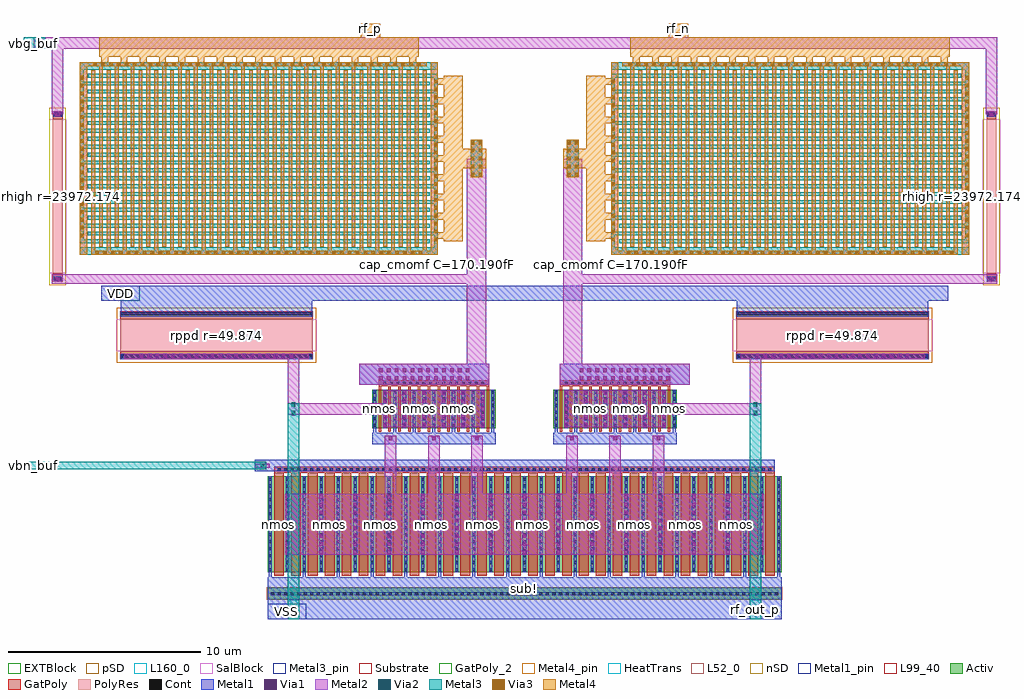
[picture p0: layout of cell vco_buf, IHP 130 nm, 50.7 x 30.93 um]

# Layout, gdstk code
import gdstk
lib = gdstk.Library(unit=1e-6, precision=1e-09)
def R(c, l, rs):  # rectangles x0, y0, x1, y1
    for r in rs: c.add(gdstk.rectangle(r[:2], r[2:], *l))
def A(c, l, x, y, w, h, nx, ny, dx, dy):  # array of equal rectangles
    R(c, l, [(x+i*dx, y+j*dy, x+i*dx+w, y+j*dy+h) for i in range(nx) for j in range(ny)])
def P(c, l, *ps):  # polygons
    for p in ps: c.add(gdstk.Polygon(p, *l))
Activ = (1, 0)
GatPoly = (5, 0)
GatPoly_2 = (5, 2)
Cont = (6, 0)
nSD = (7, 0)
Metal1 = (8, 0)
Metal1_pin = (8, 2)
Metal2 = (10, 0)
pSD = (14, 0)
Via1 = (19, 0)
SalBlock = (28, 0)
Via2 = (29, 0)
Metal3 = (30, 0)
Metal3_pin = (30, 2)
Substrate = (40, 0)
Via3 = (49, 0)
Metal4 = (50, 0)
Metal4_pin = (50, 2)
HeatTrans = (51, 0)
L52_0 = (52, 0)
L99_40 = (99, 40)
EXTBlock = (111, 0)
PolyRes = (128, 0)
L160_0 = (160, 0)

vco_buf = lib.new_cell('vco_buf')
A(vco_buf, Activ, -13.35, -0.3, 0.3, 0.3, 31, 1, 0.88, 0)
A(vco_buf, Activ, -7.92, 4.2, 0.3, 0.3, 13, 1, 0.51, 0)
A(vco_buf, Activ, 1.5, 4.2, 0.3, 0.3, 13, 1, 0.51, 0)
R(vco_buf, Activ, [(-13.35,-6.4,13.35,-5.8), (-13.35,-5,13.35,0), (-7.92,2.5,-1.5,4.5), (1.5,2.5,7.92,4.5)])
A(vco_buf, GatPoly, -13.01, -5.18, 0.5, 5.36, 30, 1, 0.88, 0)
A(vco_buf, GatPoly, -7.58, 2.32, 0.13, 2.36, 12, 1, 0.51, 0)
A(vco_buf, GatPoly, 1.84, 2.32, 0.13, 2.36, 12, 1, 0.51, 0)
R(vco_buf, GatPoly, [(-13.01,0.18,13.01,0.48), (-12.9,0.18,12.9,0.48), (-7.58,4.68,-1.84,4.98), (-7.41,4.68,-2.01,4.98), (1.84,4.68,7.58,4.98), (2.01,4.68,7.41,4.98), (-21,6.07,-11,6.3), (11,6.07,21,6.3), (-21,6.3,-11,6.5), (11,6.3,21,6.5), (-21,8.15,-11,8.35), (11,8.15,21,8.35), (-21,8.35,-11,8.58), (11,8.35,21,8.58), (-24.5,10.1,-24,10.53), (24,10.1,24.5,10.53), (-24.5,18.53,-24,18.96), (24,18.53,24.5,18.96)])
R(vco_buf, GatPoly_2, [(-13.01,-5.18,-12.51,0.18), (-7.58,2.32,-7.45,4.68), (7.45,2.32,7.58,4.68)])
A(vco_buf, Cont, -13.17, -6.18, 0.16, 0.16, 78, 1, 0.34, 0)
A(vco_buf, Cont, -13.28, -4.93, 0.16, 0.16, 31, 2, 0.88, 0.365)
A(vco_buf, Cont, -13.28, -4.205, 0.16, 0.16, 31, 2, 0.88, 0.36)
A(vco_buf, Cont, -13.28, -3.48, 0.16, 0.16, 31, 3, 0.88, 0.36)
A(vco_buf, Cont, -13.28, -2.395, 0.16, 0.16, 31, 3, 0.88, 0.36)
A(vco_buf, Cont, -13.28, -1.31, 0.16, 0.16, 31, 4, 0.88, 0.36)
A(vco_buf, Cont, -12.83, 0.25, 0.16, 0.16, 76, 1, 0.34, 0)
A(vco_buf, Cont, -7.85, 2.57, 0.16, 0.16, 13, 6, 0.51, 0.34)
A(vco_buf, Cont, 1.57, 2.57, 0.16, 0.16, 13, 6, 0.51, 0.34)
A(vco_buf, Cont, -7.34, 4.75, 0.16, 0.16, 16, 1, 0.34, 0)
A(vco_buf, Cont, 2.08, 4.75, 0.16, 0.16, 16, 1, 0.34, 0)
R(vco_buf, Cont, [(-20.93,6.14,-11.07,6.3), (11.07,6.14,20.93,6.3), (-20.93,8.35,-11.07,8.51), (11.07,8.35,20.93,8.51), (-24.43,10.17,-24.07,10.33), (24.07,10.17,24.43,10.33), (-24.43,18.73,-24.07,18.89), (24.07,18.73,24.43,18.89)])
R(vco_buf, nSD, [(-24.68,9.92,-23.82,10.71), (23.82,9.92,24.68,10.71), (-24.68,10.53,-23.82,18.53), (-24.68,10.53,-23.82,18.53), (23.82,10.53,24.68,18.53), (23.82,10.53,24.68,18.53), (-24.68,18.35,-23.82,19.14), (23.82,18.35,24.68,19.14)])
R(vco_buf, Metal1, [(-14.01,0.25,13.01,0.85), (-8.58,4.75,-1.84,5.85), (1.84,4.75,8.58,5.85), (-20.98,6.07,-11.02,6.37), (11.02,6.07,20.98,6.37), (-24.48,10.12,-24.02,10.38), (24.02,10.12,24.48,10.38), (-24.48,18.68,-24.02,18.94), (24.02,18.68,24.48,18.94)])
P(vco_buf, Metal1, [(-12.4,-5),(-12.4,-4.08),(-12.425,-4.08),(-12.425,-0.92),(-12.4,-0.92),(-12.4,0),(-12.24,0),(-12.24,-0.92),(-12.215,-0.92),(-12.215,-4.08),(-12.24,-4.08),(-12.24,-5)],
  [(-10.64,-5),(-10.64,-4.08),(-10.665,-4.08),(-10.665,-0.92),(-10.64,-0.92),(-10.64,0),(-10.48,0),(-10.48,-0.92),(-10.455,-0.92),(-10.455,-4.08),(-10.48,-4.08),(-10.48,-5)],
  [(-8.88,-5),(-8.88,-4.08),(-8.905,-4.08),(-8.905,-0.92),(-8.88,-0.92),(-8.88,0),(-8.72,0),(-8.72,-0.92),(-8.695,-0.92),(-8.695,-4.08),(-8.72,-4.08),(-8.72,-5)],
  [(-7.12,-5),(-7.12,-4.08),(-7.145,-4.08),(-7.145,-0.92),(-7.12,-0.92),(-7.12,0),(-6.96,0),(-6.96,-0.92),(-6.935,-0.92),(-6.935,-4.08),(-6.96,-4.08),(-6.96,-5)],
  [(-5.36,-5),(-5.36,-4.08),(-5.385,-4.08),(-5.385,-0.92),(-5.36,-0.92),(-5.36,0),(-5.2,0),(-5.2,-0.92),(-5.175,-0.92),(-5.175,-4.08),(-5.2,-4.08),(-5.2,-5)],
  [(-3.6,-5),(-3.6,-4.08),(-3.625,-4.08),(-3.625,-0.92),(-3.6,-0.92),(-3.6,0),(-3.44,0),(-3.44,-0.92),(-3.415,-0.92),(-3.415,-4.08),(-3.44,-4.08),(-3.44,-5)],
  [(-1.84,-5),(-1.84,-4.08),(-1.865,-4.08),(-1.865,-0.92),(-1.84,-0.92),(-1.84,0),(-1.68,0),(-1.68,-0.92),(-1.655,-0.92),(-1.655,-4.08),(-1.68,-4.08),(-1.68,-5)],
  [(-0.08,-5),(-0.08,-4.08),(-0.105,-4.08),(-0.105,-0.92),(-0.08,-0.92),(-0.08,0),(0.08,0),(0.08,-0.92),(0.105,-0.92),(0.105,-4.08),(0.08,-4.08),(0.08,-5)],
  [(1.68,-5),(1.68,-4.08),(1.655,-4.08),(1.655,-0.92),(1.68,-0.92),(1.68,0),(1.84,0),(1.84,-0.92),(1.865,-0.92),(1.865,-4.08),(1.84,-4.08),(1.84,-5)],
  [(3.44,-5),(3.44,-4.08),(3.415,-4.08),(3.415,-0.92),(3.44,-0.92),(3.44,0),(3.6,0),(3.6,-0.92),(3.625,-0.92),(3.625,-4.08),(3.6,-4.08),(3.6,-5)],
  [(5.2,-5),(5.2,-4.08),(5.175,-4.08),(5.175,-0.92),(5.2,-0.92),(5.2,0),(5.36,0),(5.36,-0.92),(5.385,-0.92),(5.385,-4.08),(5.36,-4.08),(5.36,-5)],
  [(6.96,-5),(6.96,-4.08),(6.935,-4.08),(6.935,-0.92),(6.96,-0.92),(6.96,0),(7.12,0),(7.12,-0.92),(7.145,-0.92),(7.145,-4.08),(7.12,-4.08),(7.12,-5)],
  [(8.72,-5),(8.72,-4.08),(8.695,-4.08),(8.695,-0.92),(8.72,-0.92),(8.72,0),(8.88,0),(8.88,-0.92),(8.905,-0.92),(8.905,-4.08),(8.88,-4.08),(8.88,-5)],
  [(10.48,-5),(10.48,-4.08),(10.455,-4.08),(10.455,-0.92),(10.48,-0.92),(10.48,0),(10.64,0),(10.64,-0.92),(10.665,-0.92),(10.665,-4.08),(10.64,-4.08),(10.64,-5)],
  [(12.24,-5),(12.24,-4.08),(12.215,-4.08),(12.215,-0.92),(12.24,-0.92),(12.24,0),(12.4,0),(12.4,-0.92),(12.425,-0.92),(12.425,-4.08),(12.4,-4.08),(12.4,-5)],
  [(-13.35,-7.43),(-13.35,-5.25),(-13.28,-5.25),(-13.28,0),(-13.12,0),(-13.12,-5.25),(-11.52,-5.25),(-11.52,0),(-11.36,0),(-11.36,-5.25),(-9.76,-5.25),(-9.76,0),(-9.6,0),(-9.6,-5.25),(-8,-5.25),(-8,0),(-7.84,0),(-7.84,-5.25),(-6.24,-5.25),(-6.24,0),(-6.08,0),(-6.08,-5.25),(-4.48,-5.25),(-4.48,0),(-4.32,0),(-4.32,-5.25),(-2.72,-5.25),(-2.72,0),(-2.56,0),(-2.56,-5.25),(-0.96,-5.25),(-0.96,0),(-0.8,0),(-0.8,-5.25),(0.8,-5.25),(0.8,0),(0.96,0),(0.96,-5.25),(2.56,-5.25),(2.56,0),(2.72,0),(2.72,-5.25),(4.32,-5.25),(4.32,0),(4.48,0),(4.48,-5.25),(6.08,-5.25),(6.08,0),(6.24,0),(6.24,-5.25),(7.84,-5.25),(7.84,0),(8,0),(8,-5.25),(9.6,-5.25),(9.6,0),(9.76,0),(9.76,-5.25),(11.36,-5.25),(11.36,0),(11.52,0),(11.52,-5.25),(13.12,-5.25),(13.12,0),(13.28,0),(13.28,-5.25),(13.35,-5.25),(13.35,-7.43)],
  [(-7.34,2.5),(-7.34,2.535),(-7.365,2.535),(-7.365,4.465),(-7.34,4.465),(-7.34,4.5),(-7.18,4.5),(-7.18,4.465),(-7.155,4.465),(-7.155,2.535),(-7.18,2.535),(-7.18,2.5)],
  [(-6.32,2.5),(-6.32,2.535),(-6.345,2.535),(-6.345,4.465),(-6.32,4.465),(-6.32,4.5),(-6.16,4.5),(-6.16,4.465),(-6.135,4.465),(-6.135,2.535),(-6.16,2.535),(-6.16,2.5)],
  [(-5.3,2.5),(-5.3,2.535),(-5.325,2.535),(-5.325,4.465),(-5.3,4.465),(-5.3,4.5),(-5.14,4.5),(-5.14,4.465),(-5.115,4.465),(-5.115,2.535),(-5.14,2.535),(-5.14,2.5)],
  [(-4.28,2.5),(-4.28,2.535),(-4.305,2.535),(-4.305,4.465),(-4.28,4.465),(-4.28,4.5),(-4.12,4.5),(-4.12,4.465),(-4.095,4.465),(-4.095,2.535),(-4.12,2.535),(-4.12,2.5)],
  [(-3.26,2.5),(-3.26,2.535),(-3.285,2.535),(-3.285,4.465),(-3.26,4.465),(-3.26,4.5),(-3.1,4.5),(-3.1,4.465),(-3.075,4.465),(-3.075,2.535),(-3.1,2.535),(-3.1,2.5)],
  [(-2.24,2.5),(-2.24,2.535),(-2.265,2.535),(-2.265,4.465),(-2.24,4.465),(-2.24,4.5),(-2.08,4.5),(-2.08,4.465),(-2.055,4.465),(-2.055,2.535),(-2.08,2.535),(-2.08,2.5)],
  [(-7.92,1.65),(-7.92,2.25),(-7.85,2.25),(-7.85,4.5),(-7.69,4.5),(-7.69,2.25),(-6.83,2.25),(-6.83,4.5),(-6.67,4.5),(-6.67,2.25),(-5.81,2.25),(-5.81,4.5),(-5.65,4.5),(-5.65,2.25),(-4.79,2.25),(-4.79,4.5),(-4.63,4.5),(-4.63,2.25),(-3.77,2.25),(-3.77,4.5),(-3.61,4.5),(-3.61,2.25),(-2.75,2.25),(-2.75,4.5),(-2.59,4.5),(-2.59,2.25),(-1.73,2.25),(-1.73,4.5),(-1.57,4.5),(-1.57,2.25),(-1.5,2.25),(-1.5,1.65)],
  [(2.08,2.5),(2.08,2.535),(2.055,2.535),(2.055,4.465),(2.08,4.465),(2.08,4.5),(2.24,4.5),(2.24,4.465),(2.265,4.465),(2.265,2.535),(2.24,2.535),(2.24,2.5)],
  [(3.1,2.5),(3.1,2.535),(3.075,2.535),(3.075,4.465),(3.1,4.465),(3.1,4.5),(3.26,4.5),(3.26,4.465),(3.285,4.465),(3.285,2.535),(3.26,2.535),(3.26,2.5)],
  [(4.12,2.5),(4.12,2.535),(4.095,2.535),(4.095,4.465),(4.12,4.465),(4.12,4.5),(4.28,4.5),(4.28,4.465),(4.305,4.465),(4.305,2.535),(4.28,2.535),(4.28,2.5)],
  [(5.14,2.5),(5.14,2.535),(5.115,2.535),(5.115,4.465),(5.14,4.465),(5.14,4.5),(5.3,4.5),(5.3,4.465),(5.325,4.465),(5.325,2.535),(5.3,2.535),(5.3,2.5)],
  [(6.16,2.5),(6.16,2.535),(6.135,2.535),(6.135,4.465),(6.16,4.465),(6.16,4.5),(6.32,4.5),(6.32,4.465),(6.345,4.465),(6.345,2.535),(6.32,2.535),(6.32,2.5)],
  [(7.18,2.5),(7.18,2.535),(7.155,2.535),(7.155,4.465),(7.18,4.465),(7.18,4.5),(7.34,4.5),(7.34,4.465),(7.365,4.465),(7.365,2.535),(7.34,2.535),(7.34,2.5)],
  [(1.5,1.65),(1.5,2.25),(1.57,2.25),(1.57,4.5),(1.73,4.5),(1.73,2.25),(2.59,2.25),(2.59,4.5),(2.75,4.5),(2.75,2.25),(3.61,2.25),(3.61,4.5),(3.77,4.5),(3.77,2.25),(4.63,2.25),(4.63,4.5),(4.79,4.5),(4.79,2.25),(5.65,2.25),(5.65,4.5),(5.81,4.5),(5.81,2.25),(6.67,2.25),(6.67,4.5),(6.83,4.5),(6.83,2.25),(7.69,2.25),(7.69,4.5),(7.85,4.5),(7.85,2.25),(7.92,2.25),(7.92,1.65)],
  [(-20.98,8.28),(-20.98,9.1),(-22,9.1),(-22,9.9),(22,9.9),(22,9.1),(20.98,9.1),(20.98,8.28),(11.02,8.28),(11.02,9.1),(-11.02,9.1),(-11.02,8.28)])
R(vco_buf, Metal1_pin, [(-13.35,-7.43,-11.35,-6.63), (-13.17,-6.18,13.17,-6.02), (-13.28,-5,-13.12,0), (-12.4,-5,-12.24,0), (-7.85,2.5,-7.69,4.5), (-7.34,2.5,-7.18,4.5), (7.18,2.5,7.34,4.5), (7.69,2.5,7.85,4.5), (-20.98,6.07,-11.02,6.37), (11.02,6.07,20.98,6.37), (-20.98,8.28,-11.02,8.58), (11.02,8.28,20.98,8.58), (-22,9.1,-20,9.9), (-24.48,10.12,-24.02,10.38), (24.02,10.12,24.48,10.38), (-24.48,18.68,-24.02,18.94), (24.02,18.68,24.48,18.94)])
R(vco_buf, Metal2, [(-13.975,0.45,-13.245,0.65)])
P(vco_buf, Metal2, [(-12.42,-4.08),(-12.42,-0.92),(-7.255,-0.92),(-7.255,2.1),(-6.655,2.1),(-6.655,-0.92),(-5.01,-0.92),(-5.01,2.1),(-4.41,2.1),(-4.41,-0.92),(-2.765,-0.92),(-2.765,2.1),(-2.165,2.1),(-2.165,-0.92),(2.165,-0.92),(2.165,2.1),(2.765,2.1),(2.765,-0.92),(4.41,-0.92),(4.41,2.1),(5.01,2.1),(5.01,-0.92),(6.655,-0.92),(6.655,2.1),(7.255,2.1),(7.255,-0.92),(12.42,-0.92),(12.42,-4.08)],
  [(-7.36,2.535),(-7.36,3.2),(-11.9,3.2),(-11.9,3.15),(-12.1,3.15),(-12.1,3.2),(-12.3,3.2),(-12.3,6.07),(-20.78,6.07),(-20.78,6.37),(-11.22,6.37),(-11.22,6.07),(-11.7,6.07),(-11.7,3.8),(-7.36,3.8),(-7.36,4.465),(-2.06,4.465),(-2.06,2.535)],
  [(2.06,2.535),(2.06,4.465),(7.36,4.465),(7.36,3.8),(11.7,3.8),(11.7,6.07),(11.22,6.07),(11.22,6.37),(20.78,6.37),(20.78,6.07),(12.3,6.07),(12.3,3.2),(12.1,3.2),(12.1,3.15),(11.9,3.15),(11.9,3.2),(7.36,3.2),(7.36,2.535)],
  [(-8.58,4.75),(-8.58,5.85),(-3,5.85),(-3,10),(-24.55,10),(-24.55,10.5),(-3,10.5),(-3,16.5),(-2.805,16.5),(-2.805,17.465),(-2.195,17.465),(-2.195,16.5),(-2,16.5),(-2,5.85),(-1.84,5.85),(-1.84,4.75)],
  [(1.84,4.75),(1.84,5.85),(2,5.85),(2,16.5),(2.195,16.5),(2.195,17.465),(2.805,17.465),(2.805,16.5),(3,16.5),(3,10.5),(24.55,10.5),(24.55,10),(3,10),(3,5.85),(8.58,5.85),(8.58,4.75)],
  [(-23.1,11.5),(-23.1,21.5),(-5.09,21.5),(-5.09,21.3),(-5.5,21.3),(-5.5,11.915),(-5.7,11.915),(-5.7,21.3),(-6.32,21.3),(-6.32,11.915),(-6.52,11.915),(-6.52,21.3),(-7.14,21.3),(-7.14,11.915),(-7.34,11.915),(-7.34,21.3),(-7.96,21.3),(-7.96,11.915),(-8.16,11.915),(-8.16,21.3),(-8.78,21.3),(-8.78,11.915),(-8.98,11.915),(-8.98,21.3),(-9.6,21.3),(-9.6,11.915),(-9.8,11.915),(-9.8,21.3),(-10.42,21.3),(-10.42,11.915),(-10.62,11.915),(-10.62,21.3),(-11.24,21.3),(-11.24,11.915),(-11.44,11.915),(-11.44,21.3),(-12.06,21.3),(-12.06,11.915),(-12.26,11.915),(-12.26,21.3),(-12.88,21.3),(-12.88,11.915),(-13.08,11.915),(-13.08,21.3),(-13.7,21.3),(-13.7,11.915),(-13.9,11.915),(-13.9,21.3),(-14.52,21.3),(-14.52,11.915),(-14.72,11.915),(-14.72,21.3),(-15.34,21.3),(-15.34,11.915),(-15.54,11.915),(-15.54,21.3),(-16.16,21.3),(-16.16,11.915),(-16.36,11.915),(-16.36,21.3),(-16.98,21.3),(-16.98,11.915),(-17.18,11.915),(-17.18,21.3),(-17.8,21.3),(-17.8,11.915),(-18,11.915),(-18,21.3),(-18.62,21.3),(-18.62,11.915),(-18.82,11.915),(-18.82,21.3),(-19.44,21.3),(-19.44,11.915),(-19.64,11.915),(-19.64,21.3),(-20.26,21.3),(-20.26,11.915),(-20.46,11.915),(-20.46,21.3),(-21.08,21.3),(-21.08,11.915),(-21.28,11.915),(-21.28,21.3),(-21.9,21.3),(-21.9,11.915),(-22.1,11.915),(-22.1,21.3),(-22.72,21.3),(-22.72,11.5)],
  [(-22.51,11.5),(-22.51,21.085),(-22.31,21.085),(-22.31,11.7),(-21.69,11.7),(-21.69,21.085),(-21.49,21.085),(-21.49,11.7),(-20.87,11.7),(-20.87,21.085),(-20.67,21.085),(-20.67,11.7),(-20.05,11.7),(-20.05,21.085),(-19.85,21.085),(-19.85,11.7),(-19.23,11.7),(-19.23,21.085),(-19.03,21.085),(-19.03,11.7),(-18.41,11.7),(-18.41,21.085),(-18.21,21.085),(-18.21,11.7),(-17.59,11.7),(-17.59,21.085),(-17.39,21.085),(-17.39,11.7),(-16.77,11.7),(-16.77,21.085),(-16.57,21.085),(-16.57,11.7),(-15.95,11.7),(-15.95,21.085),(-15.75,21.085),(-15.75,11.7),(-15.13,11.7),(-15.13,21.085),(-14.93,21.085),(-14.93,11.7),(-14.31,11.7),(-14.31,21.085),(-14.11,21.085),(-14.11,11.7),(-13.49,11.7),(-13.49,21.085),(-13.29,21.085),(-13.29,11.7),(-12.67,11.7),(-12.67,21.085),(-12.47,21.085),(-12.47,11.7),(-11.85,11.7),(-11.85,21.085),(-11.65,21.085),(-11.65,11.7),(-11.03,11.7),(-11.03,21.085),(-10.83,21.085),(-10.83,11.7),(-10.21,11.7),(-10.21,21.085),(-10.01,21.085),(-10.01,11.7),(-9.39,11.7),(-9.39,21.085),(-9.19,21.085),(-9.19,11.7),(-8.57,11.7),(-8.57,21.085),(-8.37,21.085),(-8.37,11.7),(-7.75,11.7),(-7.75,21.085),(-7.55,21.085),(-7.55,11.7),(-6.93,11.7),(-6.93,21.085),(-6.73,21.085),(-6.73,11.7),(-6.11,11.7),(-6.11,21.085),(-5.91,21.085),(-5.91,11.7),(-5.29,11.7),(-5.29,21.085),(-5.09,21.085),(-5.09,11.7),(-4.88,11.7),(-4.88,21.5),(-4.5,21.5),(-4.5,11.5)],
  [(4.5,11.5),(4.5,21.5),(4.88,21.5),(4.88,11.7),(5.09,11.7),(5.09,21.085),(5.29,21.085),(5.29,11.7),(5.91,11.7),(5.91,21.085),(6.11,21.085),(6.11,11.7),(6.73,11.7),(6.73,21.085),(6.93,21.085),(6.93,11.7),(7.55,11.7),(7.55,21.085),(7.75,21.085),(7.75,11.7),(8.37,11.7),(8.37,21.085),(8.57,21.085),(8.57,11.7),(9.19,11.7),(9.19,21.085),(9.39,21.085),(9.39,11.7),(10.01,11.7),(10.01,21.085),(10.21,21.085),(10.21,11.7),(10.83,11.7),(10.83,21.085),(11.03,21.085),(11.03,11.7),(11.65,11.7),(11.65,21.085),(11.85,21.085),(11.85,11.7),(12.47,11.7),(12.47,21.085),(12.67,21.085),(12.67,11.7),(13.29,11.7),(13.29,21.085),(13.49,21.085),(13.49,11.7),(14.11,11.7),(14.11,21.085),(14.31,21.085),(14.31,11.7),(14.93,11.7),(14.93,21.085),(15.13,21.085),(15.13,11.7),(15.75,11.7),(15.75,21.085),(15.95,21.085),(15.95,11.7),(16.57,11.7),(16.57,21.085),(16.77,21.085),(16.77,11.7),(17.39,11.7),(17.39,21.085),(17.59,21.085),(17.59,11.7),(18.21,11.7),(18.21,21.085),(18.41,21.085),(18.41,11.7),(19.03,11.7),(19.03,21.085),(19.23,21.085),(19.23,11.7),(19.85,11.7),(19.85,21.085),(20.05,21.085),(20.05,11.7),(20.67,11.7),(20.67,21.085),(20.87,21.085),(20.87,11.7),(21.49,11.7),(21.49,21.085),(21.69,21.085),(21.69,11.7),(22.31,11.7),(22.31,21.085),(22.51,21.085),(22.51,11.5)],
  [(22.72,11.5),(22.72,21.3),(22.1,21.3),(22.1,11.915),(21.9,11.915),(21.9,21.3),(21.28,21.3),(21.28,11.915),(21.08,11.915),(21.08,21.3),(20.46,21.3),(20.46,11.915),(20.26,11.915),(20.26,21.3),(19.64,21.3),(19.64,11.915),(19.44,11.915),(19.44,21.3),(18.82,21.3),(18.82,11.915),(18.62,11.915),(18.62,21.3),(18,21.3),(18,11.915),(17.8,11.915),(17.8,21.3),(17.18,21.3),(17.18,11.915),(16.98,11.915),(16.98,21.3),(16.36,21.3),(16.36,11.915),(16.16,11.915),(16.16,21.3),(15.54,21.3),(15.54,11.915),(15.34,11.915),(15.34,21.3),(14.72,21.3),(14.72,11.915),(14.52,11.915),(14.52,21.3),(13.9,21.3),(13.9,11.915),(13.7,11.915),(13.7,21.3),(13.08,21.3),(13.08,11.915),(12.88,11.915),(12.88,21.3),(12.26,21.3),(12.26,11.915),(12.06,11.915),(12.06,21.3),(11.44,21.3),(11.44,11.915),(11.24,11.915),(11.24,21.3),(10.62,21.3),(10.62,11.915),(10.42,11.915),(10.42,21.3),(9.8,21.3),(9.8,11.915),(9.6,11.915),(9.6,21.3),(8.98,21.3),(8.98,11.915),(8.78,11.915),(8.78,21.3),(8.16,21.3),(8.16,11.915),(7.96,11.915),(7.96,21.3),(7.34,21.3),(7.34,11.915),(7.14,11.915),(7.14,21.3),(6.52,21.3),(6.52,11.915),(6.32,11.915),(6.32,21.3),(5.7,21.3),(5.7,11.915),(5.5,11.915),(5.5,21.3),(5.09,21.3),(5.09,21.5),(23.1,21.5),(23.1,11.5)],
  [(-24.395,18.71),(-24.395,18.81),(-24.55,18.81),(-24.55,22.2),(-25.5,22.2),(-25.5,22.8),(24.55,22.8),(24.55,18.81),(24.395,18.81),(24.395,18.71),(24.105,18.71),(24.105,18.81),(23.95,18.81),(23.95,22.2),(-23.95,22.2),(-23.95,18.81),(-24.105,18.81),(-24.105,18.71)])
R(vco_buf, pSD, [(-13.38,-6.43,13.38,-5.77), (-21.18,5.89,-10.82,6.5), (10.82,5.89,21.18,6.5), (-21.18,6.5,-10.82,8.15), (10.82,6.5,21.18,8.15), (-21.18,8.15,-10.82,8.76), (10.82,8.15,21.18,8.76), (-24.68,9.92,-23.82,10.71), (23.82,9.92,24.68,10.71), (-24.68,10.53,-23.82,18.53), (-24.68,10.53,-23.82,18.53), (23.82,10.53,24.68,18.53), (23.82,10.53,24.68,18.53), (-24.68,18.35,-23.82,19.14), (23.82,18.35,24.68,19.14)])
A(vco_buf, Via1, -12.415, -4.03, 0.19, 0.19, 15, 8, 1.76, 0.41)
A(vco_buf, Via1, -7.05, 1.855, 0.19, 0.19, 3, 1, 2.245, 0)
A(vco_buf, Via1, 2.37, 1.855, 0.19, 0.19, 3, 1, 2.245, 0)
A(vco_buf, Via1, -7.355, 2.585, 0.19, 0.19, 6, 5, 1.02, 0.41)
A(vco_buf, Via1, 2.065, 2.585, 0.19, 0.19, 6, 5, 1.02, 0.41)
A(vco_buf, Via1, -7.56, 5, 0.19, 0.19, 12, 2, 0.41, 0.41)
A(vco_buf, Via1, 2.86, 5, 0.19, 0.19, 12, 2, 0.41, 0.41)
A(vco_buf, Via1, -19.99, 6.125, 0.19, 0.19, 20, 1, 0.41, 0)
A(vco_buf, Via1, 12.01, 6.125, 0.19, 0.19, 20, 1, 0.41, 0)
R(vco_buf, Via1, [(-13.705,0.455,-13.515,0.645), (-24.345,10.155,-24.155,10.345), (24.155,10.155,24.345,10.345), (-24.345,18.715,-24.155,18.905), (24.155,18.715,24.345,18.905)])
R(vco_buf, SalBlock, [(-21.2,6.5,-10.8,8.15), (10.8,6.5,21.2,8.15), (-24.7,10.53,-23.8,18.53), (23.8,10.53,24.7,18.53)])
A(vco_buf, Via2, -22.3, 11.505, 0.19, 0.19, 42, 1, 0.41, 0)
A(vco_buf, Via2, 5.3, 11.505, 0.19, 0.19, 42, 1, 0.41, 0)
A(vco_buf, Via2, -4.695, 12.205, 0.19, 0.19, 1, 21, 0, 0.41)
A(vco_buf, Via2, 4.505, 12.205, 0.19, 0.19, 1, 21, 0, 0.41)
A(vco_buf, Via2, -23.095, 12.405, 0.19, 0.19, 1, 21, 0, 0.41)
A(vco_buf, Via2, 22.905, 12.405, 0.19, 0.19, 1, 21, 0, 0.41)
A(vco_buf, Via2, -2.8, 15.585, 0.19, 0.19, 1, 5, 0, 0.41)
A(vco_buf, Via2, -2.39, 15.585, 0.19, 0.19, 1, 5, 0, 0.41)
A(vco_buf, Via2, 2.2, 15.585, 0.19, 0.19, 1, 5, 0, 0.41)
A(vco_buf, Via2, 2.61, 15.585, 0.19, 0.19, 1, 5, 0, 0.41)
A(vco_buf, Via2, -22.4, 21.305, 0.19, 0.19, 42, 1, 0.41, 0)
A(vco_buf, Via2, 5.4, 21.305, 0.19, 0.19, 42, 1, 0.41, 0)
R(vco_buf, Via2, [(-13.705,0.455,-13.515,0.645), (-12.095,3.2,-11.905,3.39), (11.905,3.2,12.095,3.39), (-12.095,3.61,-11.905,3.8), (11.905,3.61,12.095,3.8), (-25.295,22.405,-25.105,22.595)])
R(vco_buf, Metal3, [(-26,0.35,-13.41,0.75), (-2.805,15.535,-2.195,17.465), (2.195,15.535,2.805,17.465), (-26,22.2,-24.9,22.8)])
P(vco_buf, Metal3, [(-12.3,-7.43),(-12.3,3.8),(-12.1,3.8),(-12.1,3.85),(-11.9,3.85),(-11.9,3.8),(-11.7,3.8),(-11.7,-7.43)],
  [(11.7,-7.43),(11.7,3.8),(11.9,3.8),(11.9,3.85),(12.1,3.85),(12.1,3.8),(12.3,3.8),(12.3,-7.43)],
  [(-23.1,11.5),(-23.1,11.885),(-4.7,11.885),(-4.7,12.505),(-22.69,12.505),(-22.69,12.705),(-4.7,12.705),(-4.7,13.325),(-22.69,13.325),(-22.69,13.525),(-4.7,13.525),(-4.7,14.145),(-22.69,14.145),(-22.69,14.345),(-4.7,14.345),(-4.7,14.965),(-22.69,14.965),(-22.69,15.165),(-4.7,15.165),(-4.7,15.785),(-22.69,15.785),(-22.69,15.985),(-4.7,15.985),(-4.7,16.605),(-22.69,16.605),(-22.69,16.805),(-4.7,16.805),(-4.7,17.425),(-22.69,17.425),(-22.69,17.625),(-4.7,17.625),(-4.7,18.245),(-22.69,18.245),(-22.69,18.445),(-4.7,18.445),(-4.7,19.065),(-22.69,19.065),(-22.69,19.265),(-4.7,19.265),(-4.7,19.885),(-22.69,19.885),(-22.69,20.085),(-4.7,20.085),(-4.7,20.705),(-22.69,20.705),(-22.69,20.905),(-4.5,20.905),(-4.5,11.5)],
  [(4.5,11.5),(4.5,20.905),(22.69,20.905),(22.69,20.705),(4.7,20.705),(4.7,20.085),(22.69,20.085),(22.69,19.885),(4.7,19.885),(4.7,19.265),(22.69,19.265),(22.69,19.065),(4.7,19.065),(4.7,18.445),(22.69,18.445),(22.69,18.245),(4.7,18.245),(4.7,17.625),(22.69,17.625),(22.69,17.425),(4.7,17.425),(4.7,16.805),(22.69,16.805),(22.69,16.605),(4.7,16.605),(4.7,15.985),(22.69,15.985),(22.69,15.785),(4.7,15.785),(4.7,15.165),(22.69,15.165),(22.69,14.965),(4.7,14.965),(4.7,14.345),(22.69,14.345),(22.69,14.145),(4.7,14.145),(4.7,13.525),(22.69,13.525),(22.69,13.325),(4.7,13.325),(4.7,12.705),(22.69,12.705),(22.69,12.505),(4.7,12.505),(4.7,11.885),(23.1,11.885),(23.1,11.5)],
  [(-23.1,12.095),(-23.1,21.5),(-4.5,21.5),(-4.5,21.115),(-22.9,21.115),(-22.9,20.495),(-4.91,20.495),(-4.91,20.295),(-22.9,20.295),(-22.9,19.675),(-4.91,19.675),(-4.91,19.475),(-22.9,19.475),(-22.9,18.855),(-4.91,18.855),(-4.91,18.655),(-22.9,18.655),(-22.9,18.035),(-4.91,18.035),(-4.91,17.835),(-22.9,17.835),(-22.9,17.215),(-4.91,17.215),(-4.91,17.015),(-22.9,17.015),(-22.9,16.395),(-4.91,16.395),(-4.91,16.195),(-22.9,16.195),(-22.9,15.575),(-4.91,15.575),(-4.91,15.375),(-22.9,15.375),(-22.9,14.755),(-4.91,14.755),(-4.91,14.555),(-22.9,14.555),(-22.9,13.935),(-4.91,13.935),(-4.91,13.735),(-22.9,13.735),(-22.9,13.115),(-4.91,13.115),(-4.91,12.915),(-22.9,12.915),(-22.9,12.295),(-4.91,12.295),(-4.91,12.095)],
  [(4.91,12.095),(4.91,12.295),(22.9,12.295),(22.9,12.915),(4.91,12.915),(4.91,13.115),(22.9,13.115),(22.9,13.735),(4.91,13.735),(4.91,13.935),(22.9,13.935),(22.9,14.555),(4.91,14.555),(4.91,14.755),(22.9,14.755),(22.9,15.375),(4.91,15.375),(4.91,15.575),(22.9,15.575),(22.9,16.195),(4.91,16.195),(4.91,16.395),(22.9,16.395),(22.9,17.015),(4.91,17.015),(4.91,17.215),(22.9,17.215),(22.9,17.835),(4.91,17.835),(4.91,18.035),(22.9,18.035),(22.9,18.655),(4.91,18.655),(4.91,18.855),(22.9,18.855),(22.9,19.475),(4.91,19.475),(4.91,19.675),(22.9,19.675),(22.9,20.295),(4.91,20.295),(4.91,20.495),(22.9,20.495),(22.9,21.115),(4.5,21.115),(4.5,21.5),(23.1,21.5),(23.1,12.095)])
R(vco_buf, Metal3_pin, [(-12.3,-7.43,-11.7,-6.43), (11.7,-7.43,12.3,-6.43), (-26,0.35,-25,0.75), (-26,22.2,-25,22.8)])
R(vco_buf, Substrate, [(-13.35,-6.4,13.35,-5.8)])
A(vco_buf, Via3, -22.3, 11.505, 0.19, 0.19, 42, 1, 0.41, 0)
A(vco_buf, Via3, 5.3, 11.505, 0.19, 0.19, 42, 1, 0.41, 0)
A(vco_buf, Via3, -4.695, 12.205, 0.19, 0.19, 1, 21, 0, 0.41)
A(vco_buf, Via3, 4.505, 12.205, 0.19, 0.19, 1, 21, 0, 0.41)
A(vco_buf, Via3, -23.095, 12.405, 0.19, 0.19, 1, 21, 0, 0.41)
A(vco_buf, Via3, 22.905, 12.405, 0.19, 0.19, 1, 21, 0, 0.41)
A(vco_buf, Via3, -2.8, 15.585, 0.19, 0.19, 1, 5, 0, 0.41)
A(vco_buf, Via3, -2.39, 15.585, 0.19, 0.19, 1, 5, 0, 0.41)
A(vco_buf, Via3, 2.2, 15.585, 0.19, 0.19, 1, 5, 0, 0.41)
A(vco_buf, Via3, 2.61, 15.585, 0.19, 0.19, 1, 5, 0, 0.41)
A(vco_buf, Via3, -22.4, 21.305, 0.19, 0.19, 42, 1, 0.41, 0)
A(vco_buf, Via3, 5.4, 21.305, 0.19, 0.19, 42, 1, 0.41, 0)
P(vco_buf, Metal4, [(-22.51,11.5),(-22.51,21.09),(-22.31,21.09),(-22.31,11.7),(-21.69,11.7),(-21.69,21.09),(-21.49,21.09),(-21.49,11.7),(-20.87,11.7),(-20.87,21.09),(-20.67,21.09),(-20.67,11.7),(-20.05,11.7),(-20.05,21.09),(-19.85,21.09),(-19.85,11.7),(-19.23,11.7),(-19.23,21.09),(-19.03,21.09),(-19.03,11.7),(-18.41,11.7),(-18.41,21.09),(-18.21,21.09),(-18.21,11.7),(-17.59,11.7),(-17.59,21.09),(-17.39,21.09),(-17.39,11.7),(-16.77,11.7),(-16.77,21.09),(-16.57,21.09),(-16.57,11.7),(-15.95,11.7),(-15.95,21.09),(-15.75,21.09),(-15.75,11.7),(-15.13,11.7),(-15.13,21.09),(-14.93,21.09),(-14.93,11.7),(-14.31,11.7),(-14.31,21.09),(-14.11,21.09),(-14.11,11.7),(-13.49,11.7),(-13.49,21.09),(-13.29,21.09),(-13.29,11.7),(-12.67,11.7),(-12.67,21.09),(-12.47,21.09),(-12.47,11.7),(-11.85,11.7),(-11.85,21.09),(-11.65,21.09),(-11.65,11.7),(-11.03,11.7),(-11.03,21.09),(-10.83,21.09),(-10.83,11.7),(-10.21,11.7),(-10.21,21.09),(-10.01,21.09),(-10.01,11.7),(-9.39,11.7),(-9.39,21.09),(-9.19,21.09),(-9.19,11.7),(-8.57,11.7),(-8.57,21.09),(-8.37,21.09),(-8.37,11.7),(-7.75,11.7),(-7.75,21.09),(-7.55,21.09),(-7.55,11.7),(-6.93,11.7),(-6.93,21.09),(-6.73,21.09),(-6.73,11.7),(-6.11,11.7),(-6.11,21.09),(-5.91,21.09),(-5.91,11.7),(-5.29,11.7),(-5.29,21.09),(-5.09,21.09),(-5.09,11.7),(-4.88,11.7),(-4.88,13.325),(-4.5,13.325),(-4.5,12.675),(-4.2,12.675),(-4.2,13.325),(-4.88,13.325),(-4.88,14.325),(-4.5,14.325),(-4.5,13.675),(-4.2,13.675),(-4.2,14.325),(-4.88,14.325),(-4.88,15.325),(-4.5,15.325),(-4.5,14.675),(-4.2,14.675),(-4.2,15.325),(-4.88,15.325),(-4.88,16.325),(-4.5,16.325),(-4.5,15.675),(-4.2,15.675),(-4.2,16.325),(-4.88,16.325),(-4.88,17.325),(-4.5,17.325),(-4.5,16.675),(-4.2,16.675),(-4.2,17.325),(-4.88,17.325),(-4.88,18.325),(-4.5,18.325),(-4.5,17.675),(-4.2,17.675),(-4.2,18.325),(-4.88,18.325),(-4.88,19.325),(-4.5,19.325),(-4.5,18.675),(-4.2,18.675),(-4.2,19.325),(-4.88,19.325),(-4.88,20.325),(-4.5,20.325),(-4.5,19.675),(-4.2,19.675),(-4.2,20.325),(-4.88,20.325),(-4.88,21.5),(-4.5,21.5),(-4.5,20.675),(-4.2,20.675),(-4.2,20.8),(-3.2,20.8),(-3.2,17),(-2.805,17),(-2.805,17.465),(-2.195,17.465),(-2.195,17),(-2,17),(-2,16),(-2.195,16),(-2.195,15.535),(-2.805,15.535),(-2.805,16),(-3.2,16),(-3.2,12.2),(-4.2,12.2),(-4.2,12.325),(-4.5,12.325),(-4.5,11.5)],
  [(4.5,11.5),(4.5,12.325),(4.2,12.325),(4.2,12.2),(3.2,12.2),(3.2,13.325),(4.2,13.325),(4.2,12.675),(4.5,12.675),(4.5,13.325),(3.2,13.325),(3.2,14.325),(4.2,14.325),(4.2,13.675),(4.5,13.675),(4.5,14.325),(3.2,14.325),(3.2,15.325),(4.2,15.325),(4.2,14.675),(4.5,14.675),(4.5,15.325),(3.2,15.325),(3.2,16),(2.805,16),(2.805,15.535),(2.195,15.535),(2.195,16),(2,16),(2,16.325),(4.2,16.325),(4.2,15.675),(4.5,15.675),(4.5,16.325),(2,16.325),(2,17),(2.195,17),(2.195,17.465),(2.805,17.465),(2.805,17),(3.2,17),(3.2,17.325),(4.2,17.325),(4.2,16.675),(4.5,16.675),(4.5,17.325),(3.2,17.325),(3.2,18.325),(4.2,18.325),(4.2,17.675),(4.5,17.675),(4.5,18.325),(3.2,18.325),(3.2,19.325),(4.2,19.325),(4.2,18.675),(4.5,18.675),(4.5,19.325),(3.2,19.325),(3.2,20.325),(4.2,20.325),(4.2,19.675),(4.5,19.675),(4.5,20.325),(3.2,20.325),(3.2,20.8),(4.2,20.8),(4.2,20.675),(4.5,20.675),(4.5,21.5),(4.88,21.5),(4.88,11.7),(5.09,11.7),(5.09,21.09),(5.29,21.09),(5.29,11.7),(5.91,11.7),(5.91,21.09),(6.11,21.09),(6.11,11.7),(6.73,11.7),(6.73,21.09),(6.93,21.09),(6.93,11.7),(7.55,11.7),(7.55,21.09),(7.75,21.09),(7.75,11.7),(8.37,11.7),(8.37,21.09),(8.57,21.09),(8.57,11.7),(9.19,11.7),(9.19,21.09),(9.39,21.09),(9.39,11.7),(10.01,11.7),(10.01,21.09),(10.21,21.09),(10.21,11.7),(10.83,11.7),(10.83,21.09),(11.03,21.09),(11.03,11.7),(11.65,11.7),(11.65,21.09),(11.85,21.09),(11.85,11.7),(12.47,11.7),(12.47,21.09),(12.67,21.09),(12.67,11.7),(13.29,11.7),(13.29,21.09),(13.49,21.09),(13.49,11.7),(14.11,11.7),(14.11,21.09),(14.31,21.09),(14.31,11.7),(14.93,11.7),(14.93,21.09),(15.13,21.09),(15.13,11.7),(15.75,11.7),(15.75,21.09),(15.95,21.09),(15.95,11.7),(16.57,11.7),(16.57,21.09),(16.77,21.09),(16.77,11.7),(17.39,11.7),(17.39,21.09),(17.59,21.09),(17.59,11.7),(18.21,11.7),(18.21,21.09),(18.41,21.09),(18.41,11.7),(19.03,11.7),(19.03,21.09),(19.23,21.09),(19.23,11.7),(19.85,11.7),(19.85,21.09),(20.05,21.09),(20.05,11.7),(20.67,11.7),(20.67,21.09),(20.87,21.09),(20.87,11.7),(21.49,11.7),(21.49,21.09),(21.69,21.09),(21.69,11.7),(22.31,11.7),(22.31,21.09),(22.51,21.09),(22.51,11.5)],
  [(-23.1,11.5),(-23.1,21.5),(-21.975,21.5),(-21.975,21.8),(-21.625,21.8),(-21.625,21.5),(-20.975,21.5),(-20.975,21.8),(-20.625,21.8),(-20.625,21.5),(-19.975,21.5),(-19.975,21.8),(-19.625,21.8),(-19.625,21.5),(-18.975,21.5),(-18.975,21.8),(-18.625,21.8),(-18.625,21.5),(-17.975,21.5),(-17.975,21.8),(-17.625,21.8),(-17.625,21.5),(-16.975,21.5),(-16.975,21.8),(-16.625,21.8),(-16.625,21.5),(-15.975,21.5),(-15.975,21.8),(-15.625,21.8),(-15.625,21.5),(-14.975,21.5),(-14.975,21.8),(-14.625,21.8),(-14.625,21.5),(-13.975,21.5),(-13.975,21.8),(-13.625,21.8),(-13.625,21.5),(-12.975,21.5),(-12.975,21.8),(-12.625,21.8),(-12.625,21.5),(-11.975,21.5),(-11.975,21.8),(-11.625,21.8),(-11.625,21.5),(-10.975,21.5),(-10.975,21.8),(-10.625,21.8),(-10.625,21.5),(-9.975,21.5),(-9.975,21.8),(-9.625,21.8),(-9.625,21.5),(-8.975,21.5),(-8.975,21.8),(-8.625,21.8),(-8.625,21.5),(-7.975,21.5),(-7.975,21.8),(-7.625,21.8),(-7.625,21.5),(-6.975,21.5),(-6.975,21.8),(-6.625,21.8),(-6.625,21.5),(-5.975,21.5),(-5.975,21.8),(-22.1,21.8),(-22.1,22.8),(-8.5,22.8),(-8.5,23.5),(-7.5,23.5),(-7.5,22.8),(-5.5,22.8),(-5.5,21.8),(-5.625,21.8),(-5.625,21.5),(-5.09,21.5),(-5.09,21.3),(-5.5,21.3),(-5.5,11.91),(-5.7,11.91),(-5.7,21.3),(-6.32,21.3),(-6.32,11.91),(-6.52,11.91),(-6.52,21.3),(-7.14,21.3),(-7.14,11.91),(-7.34,11.91),(-7.34,21.3),(-7.96,21.3),(-7.96,11.91),(-8.16,11.91),(-8.16,21.3),(-8.78,21.3),(-8.78,11.91),(-8.98,11.91),(-8.98,21.3),(-9.6,21.3),(-9.6,11.91),(-9.8,11.91),(-9.8,21.3),(-10.42,21.3),(-10.42,11.91),(-10.62,11.91),(-10.62,21.3),(-11.24,21.3),(-11.24,11.91),(-11.44,11.91),(-11.44,21.3),(-12.06,21.3),(-12.06,11.91),(-12.26,11.91),(-12.26,21.3),(-12.88,21.3),(-12.88,11.91),(-13.08,11.91),(-13.08,21.3),(-13.7,21.3),(-13.7,11.91),(-13.9,11.91),(-13.9,21.3),(-14.52,21.3),(-14.52,11.91),(-14.72,11.91),(-14.72,21.3),(-15.34,21.3),(-15.34,11.91),(-15.54,11.91),(-15.54,21.3),(-16.16,21.3),(-16.16,11.91),(-16.36,11.91),(-16.36,21.3),(-16.98,21.3),(-16.98,11.91),(-17.18,11.91),(-17.18,21.3),(-17.8,21.3),(-17.8,11.91),(-18,11.91),(-18,21.3),(-18.62,21.3),(-18.62,11.91),(-18.82,11.91),(-18.82,21.3),(-19.44,21.3),(-19.44,11.91),(-19.64,11.91),(-19.64,21.3),(-20.26,21.3),(-20.26,11.91),(-20.46,11.91),(-20.46,21.3),(-21.08,21.3),(-21.08,11.91),(-21.28,11.91),(-21.28,21.3),(-21.9,21.3),(-21.9,11.91),(-22.1,11.91),(-22.1,21.3),(-22.72,21.3),(-22.72,11.5)],
  [(22.72,11.5),(22.72,21.3),(22.1,21.3),(22.1,11.91),(21.9,11.91),(21.9,21.3),(21.28,21.3),(21.28,11.91),(21.08,11.91),(21.08,21.3),(20.46,21.3),(20.46,11.91),(20.26,11.91),(20.26,21.3),(19.64,21.3),(19.64,11.91),(19.44,11.91),(19.44,21.3),(18.82,21.3),(18.82,11.91),(18.62,11.91),(18.62,21.3),(18,21.3),(18,11.91),(17.8,11.91),(17.8,21.3),(17.18,21.3),(17.18,11.91),(16.98,11.91),(16.98,21.3),(16.36,21.3),(16.36,11.91),(16.16,11.91),(16.16,21.3),(15.54,21.3),(15.54,11.91),(15.34,11.91),(15.34,21.3),(14.72,21.3),(14.72,11.91),(14.52,11.91),(14.52,21.3),(13.9,21.3),(13.9,11.91),(13.7,11.91),(13.7,21.3),(13.08,21.3),(13.08,11.91),(12.88,11.91),(12.88,21.3),(12.26,21.3),(12.26,11.91),(12.06,11.91),(12.06,21.3),(11.44,21.3),(11.44,11.91),(11.24,11.91),(11.24,21.3),(10.62,21.3),(10.62,11.91),(10.42,11.91),(10.42,21.3),(9.8,21.3),(9.8,11.91),(9.6,11.91),(9.6,21.3),(8.98,21.3),(8.98,11.91),(8.78,11.91),(8.78,21.3),(8.16,21.3),(8.16,11.91),(7.96,11.91),(7.96,21.3),(7.34,21.3),(7.34,11.91),(7.14,11.91),(7.14,21.3),(6.52,21.3),(6.52,11.91),(6.32,11.91),(6.32,21.3),(5.7,21.3),(5.7,11.91),(5.5,11.91),(5.5,21.3),(5.09,21.3),(5.09,21.5),(5.625,21.5),(5.625,21.8),(5.975,21.8),(5.975,21.5),(6.625,21.5),(6.625,21.8),(6.975,21.8),(6.975,21.5),(7.625,21.5),(7.625,21.8),(7.975,21.8),(7.975,21.5),(8.625,21.5),(8.625,21.8),(8.975,21.8),(8.975,21.5),(9.625,21.5),(9.625,21.8),(9.975,21.8),(9.975,21.5),(10.625,21.5),(10.625,21.8),(10.975,21.8),(10.975,21.5),(11.625,21.5),(11.625,21.8),(11.975,21.8),(11.975,21.5),(12.625,21.5),(12.625,21.8),(12.975,21.8),(12.975,21.5),(13.625,21.5),(13.625,21.8),(13.975,21.8),(13.975,21.5),(14.625,21.5),(14.625,21.8),(14.975,21.8),(14.975,21.5),(15.625,21.5),(15.625,21.8),(15.975,21.8),(15.975,21.5),(16.625,21.5),(16.625,21.8),(16.975,21.8),(16.975,21.5),(17.625,21.5),(17.625,21.8),(17.975,21.8),(17.975,21.5),(18.625,21.5),(18.625,21.8),(18.975,21.8),(18.975,21.5),(19.625,21.5),(19.625,21.8),(19.975,21.8),(19.975,21.5),(20.625,21.5),(20.625,21.8),(20.975,21.8),(20.975,21.5),(21.625,21.5),(21.625,21.8),(5.5,21.8),(5.5,22.8),(7.5,22.8),(7.5,23.5),(8.5,23.5),(8.5,22.8),(22.1,22.8),(22.1,21.8),(21.975,21.8),(21.975,21.5),(23.1,21.5),(23.1,11.5)])
R(vco_buf, Metal4_pin, [(-4.7,16.4,-4.5,16.6), (4.5,16.4,4.7,16.6), (-14.195,21.3,-13.995,21.5), (13.995,21.3,14.195,21.5), (-8.5,23,-7.5,23.5), (7.5,23,8.5,23.5)])
A(vco_buf, HeatTrans, -13.01, -5.18, 0.5, 5.36, 30, 1, 0.88, 0)
A(vco_buf, HeatTrans, -7.58, 2.32, 0.13, 2.36, 12, 1, 0.51, 0)
A(vco_buf, HeatTrans, 1.84, 2.32, 0.13, 2.36, 12, 1, 0.51, 0)
R(vco_buf, L52_0, [(-21,6.5,-11,8.15), (11,6.5,21,8.15), (-24.5,10.53,-24,18.53), (24,10.53,24.5,18.53)])
R(vco_buf, L99_40, [(-23.1,11.5,-4.5,21.5), (4.5,11.5,23.1,21.5)])
R(vco_buf, EXTBlock, [(-21.18,5.89,-10.82,6.5), (10.82,5.89,21.18,6.5), (-21.2,6.5,-10.8,8.15), (10.8,6.5,21.2,8.15), (-21.18,8.15,-10.82,8.76), (10.82,8.15,21.18,8.76), (-24.68,9.92,-23.82,10.71), (23.82,9.92,24.68,10.71), (-24.7,10.53,-23.8,18.53), (23.8,10.53,24.7,18.53), (-24.68,18.35,-23.82,19.14), (23.82,18.35,24.68,19.14)])
R(vco_buf, PolyRes, [(-21,6.5,-11,8.15), (11,6.5,21,8.15), (-24.5,10.53,-24,18.53), (24,10.53,24.5,18.53)])
R(vco_buf, L160_0, [(-23.1,11.5,-4.5,21.5), (4.5,11.5,23.1,21.5)])
vco_buf.add(gdstk.Label('nmos', (-12.76,-2.5), layer=63, texttype=0))
vco_buf.add(gdstk.Label('sub!', (0,-5.81), layer=63, texttype=0))
vco_buf.add(gdstk.Label('nmos', (-7.515,3.5), layer=63, texttype=0))
vco_buf.add(gdstk.Label('nmos', (7.515,3.5), layer=63, texttype=0))
vco_buf.add(gdstk.Label('rppd r=49.874', (-16,7.325), layer=63, texttype=0))
vco_buf.add(gdstk.Label('cap_cmomf C=170.190fF', (-4.5,11), layer=63, texttype=0))
vco_buf.add(gdstk.Label('rhigh r=23972.174', (-24.25,14.53), layer=63, texttype=0))
vco_buf.add(gdstk.Label('rppd r=49.874', (16,7.325), layer=63, texttype=0))
vco_buf.add(gdstk.Label('cap_cmomf C=170.190fF', (4.5,11), layer=63, texttype=0))
vco_buf.add(gdstk.Label('rhigh r=23972.174', (24.25,14.53), layer=63, texttype=0))
vco_buf.add(gdstk.Label('sub!', (0,-5.81), layer=40, texttype=0))
vco_buf.add(gdstk.Label('VSS', (-12.35,-7.03), layer=8, texttype=25))
vco_buf.add(gdstk.Label('VDD', (-21,9.5), layer=8, texttype=25))
vco_buf.add(gdstk.Label('vbn_buf', (-25.5,0.55), layer=30, texttype=25))
vco_buf.add(gdstk.Label('rf_out_n', (-12,-6.93), layer=30, texttype=25))
vco_buf.add(gdstk.Label('rf_out_p', (12,-6.93), layer=30, texttype=25))
vco_buf.add(gdstk.Label('vbg_buf', (-25.5,22.5), layer=30, texttype=25))
vco_buf.add(gdstk.Label('rf_p', (-8,23.25), layer=50, texttype=25))
vco_buf.add(gdstk.Label('rf_n', (8,23.25), layer=50, texttype=25))
vco_buf.add(gdstk.Label('nmos', (-12.76,-2.5), layer=51, texttype=0))
vco_buf.add(gdstk.Label('nmos', (-11.88,-2.5), layer=51, texttype=0))
vco_buf.add(gdstk.Label('nmos', (-11,-2.5), layer=51, texttype=0))
vco_buf.add(gdstk.Label('nmos', (-10.12,-2.5), layer=51, texttype=0))
vco_buf.add(gdstk.Label('nmos', (-9.24,-2.5), layer=51, texttype=0))
vco_buf.add(gdstk.Label('nmos', (-8.36,-2.5), layer=51, texttype=0))
vco_buf.add(gdstk.Label('nmos', (-7.48,-2.5), layer=51, texttype=0))
vco_buf.add(gdstk.Label('nmos', (-6.6,-2.5), layer=51, texttype=0))
vco_buf.add(gdstk.Label('nmos', (-5.72,-2.5), layer=51, texttype=0))
vco_buf.add(gdstk.Label('nmos', (-4.84,-2.5), layer=51, texttype=0))
vco_buf.add(gdstk.Label('nmos', (-3.96,-2.5), layer=51, texttype=0))
vco_buf.add(gdstk.Label('nmos', (-3.08,-2.5), layer=51, texttype=0))
vco_buf.add(gdstk.Label('nmos', (-2.2,-2.5), layer=51, texttype=0))
vco_buf.add(gdstk.Label('nmos', (-1.32,-2.5), layer=51, texttype=0))
vco_buf.add(gdstk.Label('nmos', (-0.44,-2.5), layer=51, texttype=0))
vco_buf.add(gdstk.Label('nmos', (0.44,-2.5), layer=51, texttype=0))
vco_buf.add(gdstk.Label('nmos', (1.32,-2.5), layer=51, texttype=0))
vco_buf.add(gdstk.Label('nmos', (2.2,-2.5), layer=51, texttype=0))
vco_buf.add(gdstk.Label('nmos', (3.08,-2.5), layer=51, texttype=0))
vco_buf.add(gdstk.Label('nmos', (3.96,-2.5), layer=51, texttype=0))
vco_buf.add(gdstk.Label('nmos', (4.84,-2.5), layer=51, texttype=0))
vco_buf.add(gdstk.Label('nmos', (5.72,-2.5), layer=51, texttype=0))
vco_buf.add(gdstk.Label('nmos', (6.6,-2.5), layer=51, texttype=0))
vco_buf.add(gdstk.Label('nmos', (7.48,-2.5), layer=51, texttype=0))
vco_buf.add(gdstk.Label('nmos', (8.36,-2.5), layer=51, texttype=0))
vco_buf.add(gdstk.Label('nmos', (9.24,-2.5), layer=51, texttype=0))
vco_buf.add(gdstk.Label('nmos', (10.12,-2.5), layer=51, texttype=0))
vco_buf.add(gdstk.Label('nmos', (11,-2.5), layer=51, texttype=0))
vco_buf.add(gdstk.Label('nmos', (11.88,-2.5), layer=51, texttype=0))
vco_buf.add(gdstk.Label('nmos', (12.76,-2.5), layer=51, texttype=0))
vco_buf.add(gdstk.Label('nmos', (-7.515,3.5), layer=51, texttype=0))
vco_buf.add(gdstk.Label('nmos', (-7.005,3.5), layer=51, texttype=0))
vco_buf.add(gdstk.Label('nmos', (-6.495,3.5), layer=51, texttype=0))
vco_buf.add(gdstk.Label('nmos', (-5.985,3.5), layer=51, texttype=0))
vco_buf.add(gdstk.Label('nmos', (-5.475,3.5), layer=51, texttype=0))
vco_buf.add(gdstk.Label('nmos', (-4.965,3.5), layer=51, texttype=0))
vco_buf.add(gdstk.Label('nmos', (-4.455,3.5), layer=51, texttype=0))
vco_buf.add(gdstk.Label('nmos', (-3.945,3.5), layer=51, texttype=0))
vco_buf.add(gdstk.Label('nmos', (-3.435,3.5), layer=51, texttype=0))
vco_buf.add(gdstk.Label('nmos', (-2.925,3.5), layer=51, texttype=0))
vco_buf.add(gdstk.Label('nmos', (-2.415,3.5), layer=51, texttype=0))
vco_buf.add(gdstk.Label('nmos', (-1.905,3.5), layer=51, texttype=0))
vco_buf.add(gdstk.Label('nmos', (7.515,3.5), layer=51, texttype=0))
vco_buf.add(gdstk.Label('nmos', (7.005,3.5), layer=51, texttype=0))
vco_buf.add(gdstk.Label('nmos', (6.495,3.5), layer=51, texttype=0))
vco_buf.add(gdstk.Label('nmos', (5.985,3.5), layer=51, texttype=0))
vco_buf.add(gdstk.Label('nmos', (5.475,3.5), layer=51, texttype=0))
vco_buf.add(gdstk.Label('nmos', (4.965,3.5), layer=51, texttype=0))
vco_buf.add(gdstk.Label('nmos', (4.455,3.5), layer=51, texttype=0))
vco_buf.add(gdstk.Label('nmos', (3.945,3.5), layer=51, texttype=0))
vco_buf.add(gdstk.Label('nmos', (3.435,3.5), layer=51, texttype=0))
vco_buf.add(gdstk.Label('nmos', (2.925,3.5), layer=51, texttype=0))
vco_buf.add(gdstk.Label('nmos', (2.415,3.5), layer=51, texttype=0))
vco_buf.add(gdstk.Label('nmos', (1.905,3.5), layer=51, texttype=0))
vco_buf.add(gdstk.Label('rppd', (-16,7.325), layer=52, texttype=0))
vco_buf.add(gdstk.Label('rhigh', (-24.25,14.53), layer=52, texttype=0))
vco_buf.add(gdstk.Label('rppd', (16,7.325), layer=52, texttype=0))
vco_buf.add(gdstk.Label('rhigh', (24.25,14.53), layer=52, texttype=0))

lib.write_gds('vco_buf.gds')
